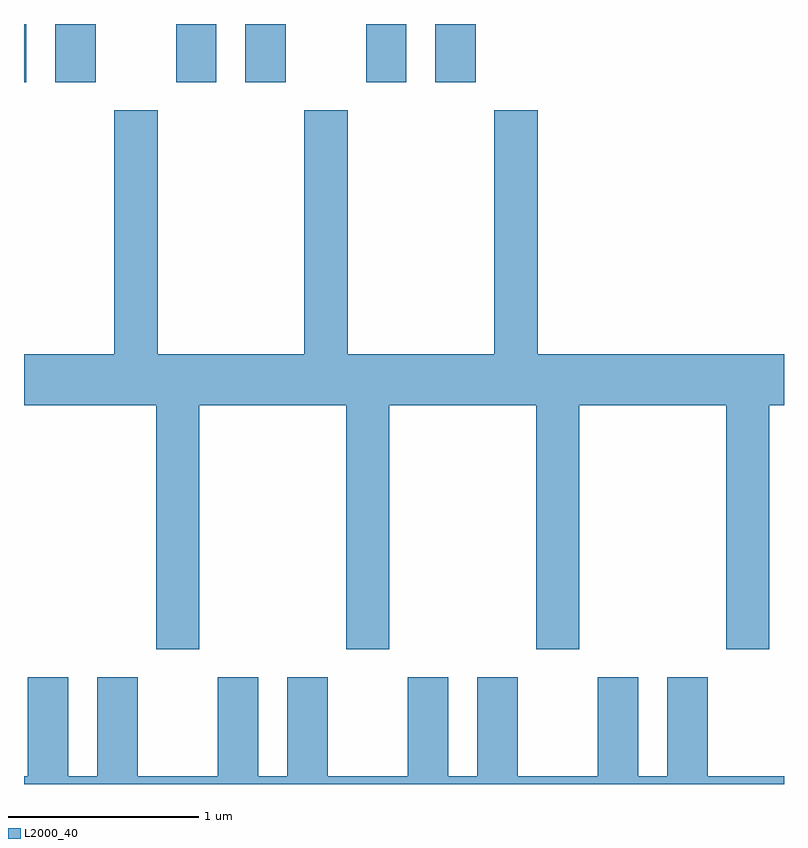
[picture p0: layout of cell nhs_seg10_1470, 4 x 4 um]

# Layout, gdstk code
import gdstk
lib = gdstk.Library(unit=1e-6, precision=1e-09)
def R(c, l, rs):  # rectangles x0, y0, x1, y1
    for r in rs: c.add(gdstk.rectangle(r[:2], r[2:], *l))
def P(c, l, *ps):  # polygons
    for p in ps: c.add(gdstk.Polygon(p, *l))
L2000_40 = (2000, 40)

nhs_seg10_1470 = lib.new_cell('nhs_seg10_1470')
R(nhs_seg10_1470, L2000_40, [(227.611,2182.216,227.624,2182.522), (227.776,2182.216,227.989,2182.522), (228.411,2182.216,228.624,2182.522), (228.776,2182.216,228.989,2182.522), (229.411,2182.216,229.624,2182.522), (229.776,2182.216,229.989,2182.522)])
P(nhs_seg10_1470, L2000_40, [(228.534,2180.516),(229.306,2180.516),(229.306,2179.231),(229.534,2179.231),(229.534,2180.516),(230.306,2180.516),(230.306,2179.231),(230.534,2179.231),(230.534,2180.516),(231.306,2180.516),(231.306,2179.231),(231.534,2179.231),(231.534,2180.516),(231.611,2180.516),(231.611,2180.784),(230.314,2180.784),(230.314,2182.069),(230.086,2182.069),(230.086,2180.784),(229.314,2180.784),(229.314,2182.069),(229.086,2182.069),(229.086,2180.784),(228.314,2180.784),(228.314,2182.069),(228.086,2182.069),(228.086,2180.784),(227.611,2180.784),(227.611,2180.516),(228.306,2180.516),(228.306,2179.231),(228.534,2179.231)],
  [(231.611,2178.564),(231.209,2178.564),(231.209,2179.084),(230.996,2179.084),(230.996,2178.564),(230.844,2178.564),(230.844,2179.084),(230.631,2179.084),(230.631,2178.564),(230.209,2178.564),(230.209,2179.084),(229.996,2179.084),(229.996,2178.564),(229.844,2178.564),(229.844,2179.084),(229.631,2179.084),(229.631,2178.564),(229.209,2178.564),(229.209,2179.084),(228.996,2179.084),(228.996,2178.564),(228.844,2178.564),(228.844,2179.084),(228.631,2179.084),(228.631,2178.564),(228.209,2178.564),(228.209,2179.084),(227.996,2179.084),(227.996,2178.564),(227.844,2178.564),(227.844,2179.084),(227.631,2179.084),(227.631,2178.564),(227.611,2178.564),(227.611,2178.522),(231.611,2178.522)])

lib.write_gds('nhs_seg10_1470.gds')
